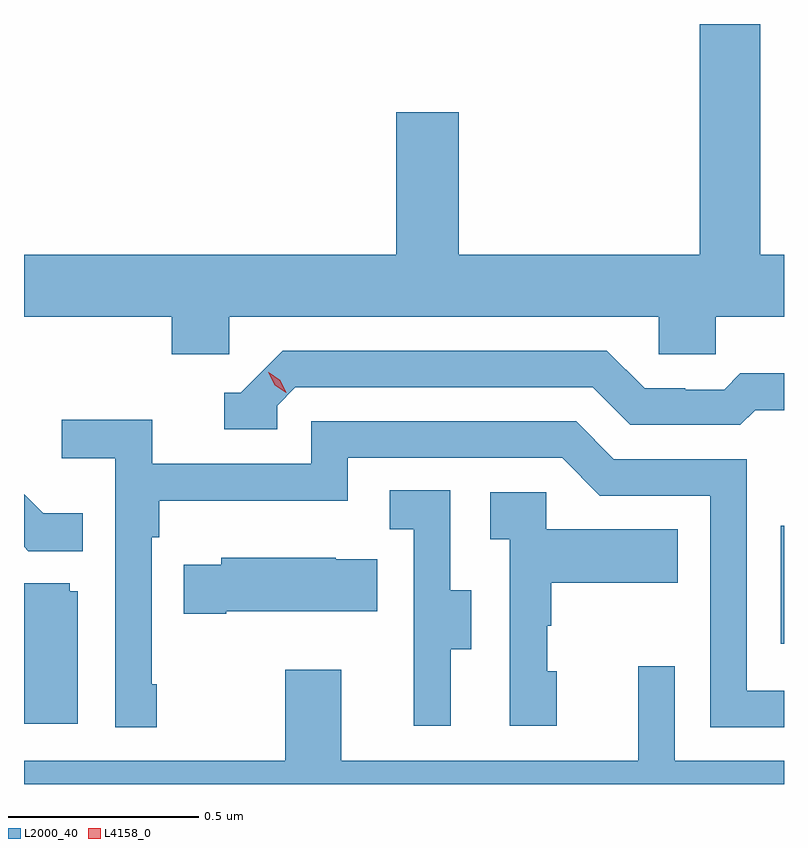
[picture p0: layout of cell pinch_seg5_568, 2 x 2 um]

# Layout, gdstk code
import gdstk
lib = gdstk.Library(unit=1e-6, precision=1e-09)
def R(c, l, rs):  # rectangles x0, y0, x1, y1
    for r in rs: c.add(gdstk.rectangle(r[:2], r[2:], *l))
def P(c, l, *ps):  # polygons
    for p in ps: c.add(gdstk.Polygon(p, *l))
L2000_40 = (2000, 40)
L4158_0 = (4158, 0)

pinch_seg5_568 = lib.new_cell('pinch_seg5_568')
R(pinch_seg5_568, L2000_40, [(981.204,851.904,981.212,852.214)])
P(pinch_seg5_568, L2000_40, [(979.752,852.764),(980.883,852.764),(980.883,852.666),(981.033,852.666),(981.033,852.764),(981.212,852.764),(981.212,852.928),(981.15,852.928),(981.15,853.535),(980.99,853.535),(980.99,852.928),(980.356,852.928),(980.356,853.303),(980.192,853.303),(980.192,852.928),(979.212,852.928),(979.212,852.764),(979.601,852.764),(979.601,852.666),(979.752,852.666)],
  [(979.878,852.531),(979.926,852.579),(980.709,852.579),(980.808,852.48),(981.097,852.48),(981.136,852.519),(981.212,852.519),(981.212,852.616),(981.097,852.616),(981.055,852.573),(980.952,852.573),(980.952,852.576),(980.845,852.576),(980.746,852.675),(979.893,852.675),(979.782,852.564),(979.739,852.564),(979.739,852.468),(979.878,852.468)],
  [(979.561,851.797),(979.548,851.797),(979.548,852.185),(979.568,852.185),(979.568,852.281),(980.064,852.281),(980.064,852.393),(980.628,852.393),(980.727,852.294),(981.018,852.294),(981.018,851.685),(981.212,851.685),(981.212,851.781),(981.114,851.781),(981.114,852.39),(980.764,852.39),(980.665,852.489),(979.968,852.489),(979.968,852.378),(979.55,852.378),(979.55,852.494),(979.311,852.494),(979.311,852.392),(979.452,852.392),(979.452,851.685),(979.561,851.685)],
  [(980.335,851.89),(980.389,851.89),(980.389,852.045),(980.334,852.045),(980.334,852.308),(980.175,852.308),(980.175,852.205),(980.238,852.205),(980.238,851.901),(980.237,851.901),(980.237,851.688),(980.335,851.688)],
  [(980.614,851.832),(980.589,851.832),(980.589,851.951),(980.599,851.951),(980.599,852.065),(980.933,852.065),(980.933,852.205),(980.586,852.205),(980.586,852.303),(980.439,852.303),(980.439,852.179),(980.49,852.179),(980.49,851.688),(980.614,851.688)],
  [(979.367,852.247),(979.263,852.247),(979.212,852.298),(979.212,852.159),(979.223,852.148),(979.367,852.148)],
  [(979.744,851.99),(980.141,851.99),(980.141,852.127),(980.033,852.127),(980.033,852.13),(979.731,852.13),(979.731,852.112),(979.633,852.112),(979.633,851.983),(979.744,851.983)],
  [(979.354,852.042),(979.332,852.042),(979.332,852.063),(979.212,852.063),(979.212,851.694),(979.354,851.694)],
  [(981.212,851.596),(980.925,851.596),(980.925,851.845),(980.828,851.845),(980.828,851.596),(980.047,851.596),(980.047,851.836),(979.9,851.836),(979.9,851.596),(979.212,851.596),(979.212,851.535),(981.212,851.535)])
P(pinch_seg5_568, L4158_0, [(979.902,852.565),(979.872,852.585),(979.855,852.618),(979.855,852.618),(979.856,852.618),(979.886,852.598),(979.902,852.565),(979.902,852.565)])

lib.write_gds('pinch_seg5_568.gds')
